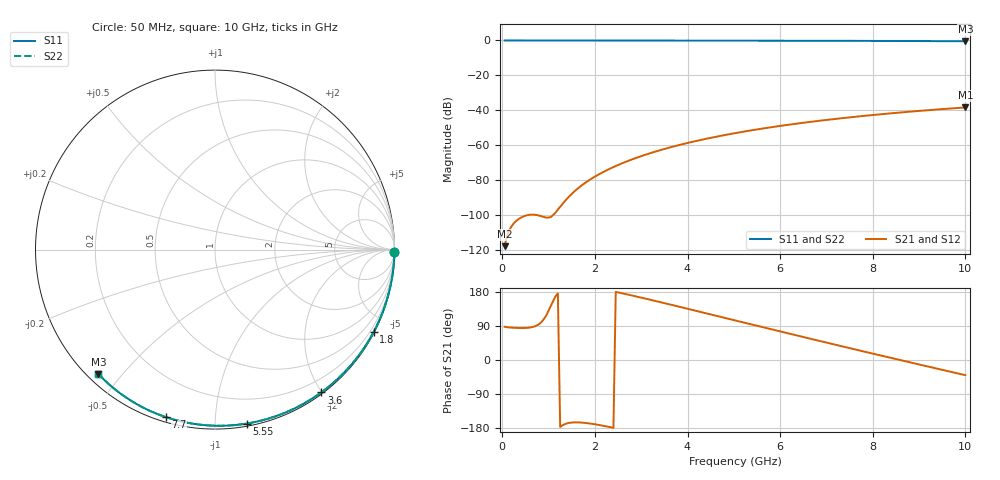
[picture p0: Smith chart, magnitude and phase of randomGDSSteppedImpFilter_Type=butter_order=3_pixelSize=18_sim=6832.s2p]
! freq	dB(S11)	phase(S11)	dB(S12)	phase(S12)
!  dB(S21)	phase(S21)	dB(S22)	phase(S22)
!S-par simulation data
#  GHz  S  DB  R 50
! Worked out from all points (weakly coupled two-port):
!   200 points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, 50 MHz to 10 GHz, reference 50 ohm
!   highest |S21| = -38.28 dB at 10 GHz (marker M1); lowest = -117.6 dB at 50 MHz (marker M2)
!   lowest |S11| = -0.4 dB at 10 GHz (marker M3), VSWR 38.87, Z = 1.53 - j21.6 ohm
!   |S11| at or under -10 dB: nowhere
!   |S22| runs from -0.4 to 0.0 dB; largest |S21 - S12| = 0
!   S11 on the Smith chart (normalised r, x): 50 MHz: open; 1.8 GHz: 0.04, -4.12; 3.6 GHz: 0.02, -1.99; 5.55 GHz: 0.02, -1.20; 7.7 GHz: 0.02, -0.75; 10 GHz: 0.03, -0.43
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0.05  -0.00 -0.8  -117.58 87.9  -117.58 87.9  -0.00 -0.8
0.9  -0.02 -13.8  -100.97 108.5  -100.97 108.5  -0.02 -13.8
1.75  -0.03 -26.5  -82.15 -165.6  -82.15 -165.6  -0.03 -26.6
1.8  -0.03 -27.3  -81.21 -166.2  -81.21 -166.2  -0.03 -27.3
1.85  -0.04 -28.0  -80.31 -166.9  -80.31 -166.9  -0.04 -28.0
1.9  -0.04 -28.8  -79.45 -167.7  -79.45 -167.7  -0.04 -28.8
2.05  -0.04 -31.0  -77.06 -170.7  -77.06 -170.7  -0.04 -31.0
2.25  -0.04 -33.9  -74.24 -175.2  -74.24 -175.2  -0.04 -34.0
2.45  -0.05 -36.9  -71.76 179.7  -71.76 179.7  -0.05 -36.9
2.65  -0.05 -39.8  -69.53 174.4  -69.53 174.4  -0.05 -39.8
3  -0.06 -44.8  -66.12 164.6  -66.12 164.6  -0.06 -44.9
3.4  -0.07 -50.5  -62.78 153.0  -62.78 153.0  -0.07 -50.6
3.6  -0.07 -53.3  -61.29 147.1  -61.29 147.1  -0.07 -53.4
4.3  -0.09 -63.0  -56.78 126.3  -56.78 126.3  -0.09 -63.1
5.05  -0.11 -73.1  -52.86 103.8  -52.86 103.8  -0.11 -73.2
5.55  -0.13 -79.7  -50.64 88.9  -50.64 88.9  -0.13 -79.7
6.1  -0.15 -86.7  -48.47 72.5  -48.47 72.5  -0.15 -86.8
6.7  -0.18 -94.2  -46.38 54.7  -46.38 54.7  -0.18 -94.3
7.7  -0.24 -106.4  -43.40 25.5  -43.40 25.5  -0.24 -106.4
8.35  -0.29 -114.1  -41.75 6.8  -41.75 6.8  -0.29 -114.1
9.15  -0.36 -123.4  -39.95 -16.0  -39.95 -16.0  -0.36 -123.5
10  -0.45 -133.2  -38.28 -40.1  -38.28 -40.1  -0.45 -133.2
